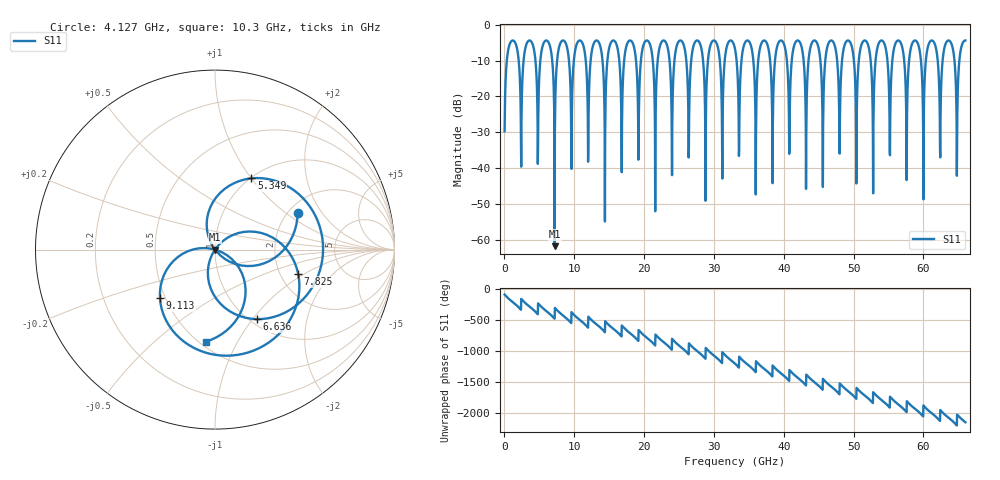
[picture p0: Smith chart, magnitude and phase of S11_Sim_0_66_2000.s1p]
!Created with skrf (http://scikit-rf.org).
# GHz S RI R 50
!freq ReS11 ImS11
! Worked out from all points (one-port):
!   1999 points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, 33.02 MHz to 66 GHz, reference 50 ohm
!   lowest |S11| = -61.7 dB at 7.198 GHz (marker M1), VSWR 1.00, Z = 50 - j0.0714 ohm
!   |S11| at or under -10 dB: 26.04 GHz to 26.74 GHz (699.3 MHz wide, 2.65 % of centre); 33.24 GHz to 33.94 GHz (699.3 MHz wide, 2.08 % of centre); 40.44 GHz to 41.14 GHz (699.2 MHz wide, 1.71 % of centre)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
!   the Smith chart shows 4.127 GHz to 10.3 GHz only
!   S11 on the Smith chart (normalised r, x): 4.127 GHz: 2.25, +1.22; 5.349 GHz: 1.01, +1.00; 6.636 GHz: 1.08, -1.05; 7.825 GHz: 2.50, -0.89; 9.113 GHz: 0.47, -0.30; 10.3 GHz: 0.54, -0.75
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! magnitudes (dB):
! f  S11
! 33.02 MHz  -29.7
! 858.4 MHz  -5.0
! 2.41 GHz  -39.6
! 4.127 GHz  -6.0
! 5.349 GHz  -7.0
! 6.636 GHz  -6.9
! 7.198 GHz  -61.7
! 7.825 GHz  -6.3
! 8.287 GHz  -4.5
! 9.113 GHz  -7.8
! 10.3 GHz  -5.8
! 16.54 GHz  -12.4
! 22.85 GHz  -4.4
! 24 GHz  -41.9
! 24.8 GHz  -5.2
! 26.38 GHz  -37.0
! 33.05 GHz  -7.1
! 41.27 GHz  -7.8
! 45.6 GHz  -45.2
! 46.92 GHz  -4.5
! 48.01 GHz  -35.9
! 49.52 GHz  -5.0
! 50.38 GHz  -44.3
! 51.57 GHz  -4.4
! 57.78 GHz  -14.7
! 63.59 GHz  -4.4
! 64.81 GHz  -32.1
! 66 GHz  -4.4
